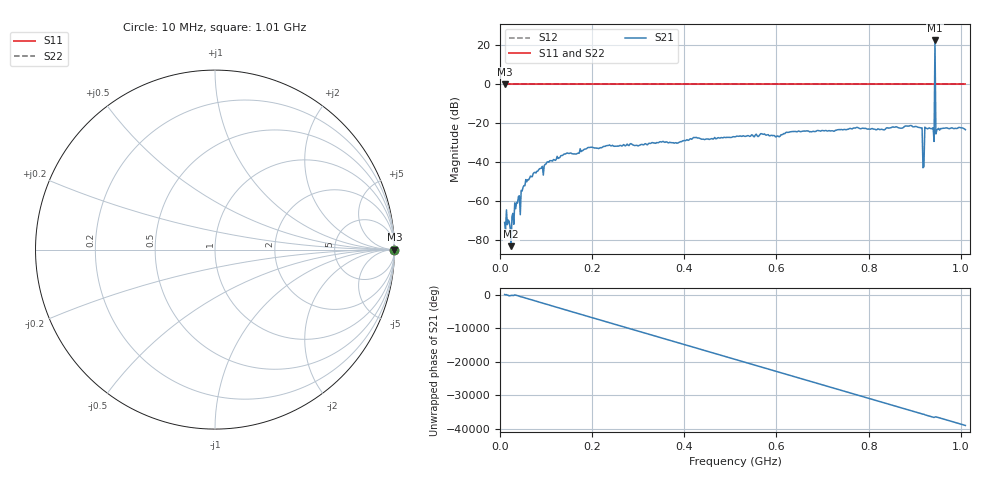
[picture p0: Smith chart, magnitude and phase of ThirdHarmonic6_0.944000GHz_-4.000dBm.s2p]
! 8/16/2025 6:41:19 AM
! C:\ANRITSUVNA\TEMP\TEMP.S2P
! CHANNEL.1
! TR.MEASUREMENT
! RAW.DATA
! RF.CORRECTION.OFF
! AVERAGING.OFF
! IF.BANDWIDTH: 5KHZ
! SWEEPTYPE:  FREQ.SWEEP(Linear)
! Reference Plane Port Info
! PORT:  PORT1  PORT2
! DISTANCE:  0  m  0  m
! TIME:  0  s  0  s
! PHASE.OFFSET:  0  deg.  0  deg.
! LOSS:  0  dB  0  dB
! REF.LOSS:  0  dB  0  dB
! REF.FREQ:  0  Hz  0  Hz
! Power Info
! POWER:  -20  dBm  -20  dBm
! EFF.POWER:  -20  dBm  -20  dBm
! SOURCE.ATTEN:  0  dB  0  dB
! TEST.ATTEN:  0  dB  0  dB
# GHZ S RI R 50.0
! FREQ.GHZ  S11RE  S11IM  S21RE  S21IM  S12RE  S12IM  S22RE  S22IM
!; PortSelection: Port_12
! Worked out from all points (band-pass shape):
!   501 points, 10 MHz to 1.01 GHz, reference 50 ohm
!   highest |S21| = 22.58 dB at 944 MHz (marker M1); lowest = -83.1 dB at 24 MHz (marker M2)
!   |S21| within 3 dB of the highest: 943.8844 MHz to 944.125 MHz (240.6 kHz wide, 0.0255 % of centre)
!   lowest |S11| = 0.0 dB at 10 MHz (marker M3)
!   |S11| at or under -10 dB: nowhere
!   |S22| runs from 0.0 to 0.0 dB; largest |S21 - S12| = 14
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0.01  1 0  -9.9e-06 0.000283  1 0  1 0
0.02  1 0  0.000178 0.000243  1 0  1 0
0.024  1 0  -5.99e-05 3.6e-05  1 0  1 0
0.026  1 0  -0.000179 -0.00037  1 0  1 0
0.036  1 0  -0.000796 -0.000477  1 0  1 0
0.06  1 0  0.0014 -0.00328  1 0  1 0
0.106  1 0  -0.00708 -0.00713  1 0  1 0
0.178  1 0  -0.0189 -0.00508  1 0  1 0
0.344  1 0  0.0316 -0.00435  1 0  1 0
0.51  1 0  -0.0434 0.0119  1 0  1 0
0.678  1 0  -0.0216 -0.0578  1 0  1 0
0.844  1 0  0.0508 0.0558  1 0  1 0
0.912  1 0  -0.077 0.000117  1 0  1 0
0.916  1 0  0.0712 0.0271  1 0  1 0
0.922  1 0  -0.0613 0.051  1 0  1 0
0.926  1 0  0.0679 -0.0299  1 0  1 0
0.938  1 0  -0.058 -0.0436  1 0  1 0
0.94  1 0  -0.0567 0.0526  1 0  1 0
0.944  1 0  -11.32 -7.278  1 0  1 0
0.948  1 0  -0.0665 0.00684  1 0  1 0
0.95  1 0  -0.00738 0.0706  1 0  1 0
1.01  1 0  -0.0669 -0.0156  1 0  1 0
